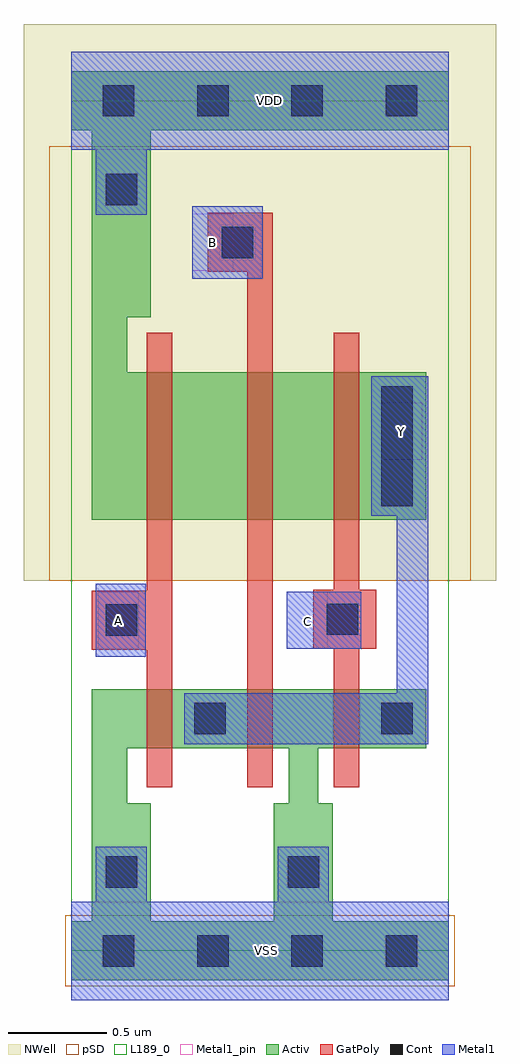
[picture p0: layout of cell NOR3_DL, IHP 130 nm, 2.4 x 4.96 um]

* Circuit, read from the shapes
.subckt NOR3_DL A B C VDD VSS Y
XM1 Y A VSS VSS sg13_lv_nmos w=0.3u l=0.13u
XM2 VSS B Y VSS sg13_lv_nmos w=0.3u l=0.13u
XM3 Y C VSS VSS sg13_lv_nmos w=0.3u l=0.13u
XM4 n1 A VDD VDD sg13_lv_pmos w=0.75u l=0.13u
XM5 n2 B n1 VDD sg13_lv_pmos w=0.75u l=0.13u
XM6 Y C n2 VDD sg13_lv_pmos w=0.75u l=0.13u
.ends

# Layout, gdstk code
import gdstk
lib = gdstk.Library(unit=1e-6, precision=1e-09)
def R(c, l, rs):  # rectangles x0, y0, x1, y1
    for r in rs: c.add(gdstk.rectangle(r[:2], r[2:], *l))
def A(c, l, x, y, w, h, nx, ny, dx, dy):  # array of equal rectangles
    R(c, l, [(x+i*dx, y+j*dy, x+i*dx+w, y+j*dy+h) for i in range(nx) for j in range(ny)])
def P(c, l, *ps):  # polygons
    for p in ps: c.add(gdstk.Polygon(p, *l))
Activ = (1, 0)
GatPoly = (5, 0)
Cont = (6, 0)
Metal1 = (8, 0)
Metal1_pin = (8, 2)
pSD = (14, 0)
NWell = (31, 0)
L189_0 = (189, 0)

nor3_dl = lib.new_cell('NOR3_DL')
P(nor3_dl, Activ, [(0,-0.15),(0,0.15),(0.105,0.15),(0.105,1.03),(0.285,1.03),(0.285,0.75),(0.405,0.75),(0.405,0.15),(1.03,0.15),(1.03,0.75),(1.105,0.75),(1.105,1.03),(0.105,1.03),(0.105,1.33),(1.805,1.33),(1.805,1.03),(1.255,1.03),(1.255,0.75),(1.33,0.75),(1.33,0.15),(1.92,0.15),(1.92,-0.15)],
  [(0.105,2.19),(0.105,4.17),(0,4.17),(0,4.47),(1.92,4.47),(1.92,4.17),(0.405,4.17),(0.405,3.22),(0.285,3.22),(0.285,2.94),(1.805,2.94),(1.805,2.19)])
P(nor3_dl, GatPoly, [(0.385,0.83),(0.385,1.53),(0.105,1.53),(0.105,1.83),(0.385,1.83),(0.385,3.14),(0.515,3.14),(0.515,0.83)],
  [(1.335,0.83),(1.335,1.535),(1.23,1.535),(1.23,1.835),(1.335,1.835),(1.335,3.14),(1.465,3.14),(1.465,1.835),(1.55,1.835),(1.55,1.535),(1.465,1.535),(1.465,0.83)],
  [(0.895,0.83),(0.895,3.45),(0.695,3.45),(0.695,3.75),(1.025,3.75),(1.025,0.83)])
A(nor3_dl, Cont, 0.16, -0.08, 0.16, 0.16, 4, 2, 0.48, 4.32)
R(nor3_dl, Cont, [(0.175,0.32,0.335,0.48), (1.1,0.32,1.26,0.48), (0.625,1.1,0.785,1.26), (1.575,1.1,1.735,1.26), (0.175,1.6,0.335,1.76), (1.3,1.605,1.46,1.765), (1.575,2.26,1.735,2.87), (0.765,3.52,0.925,3.68), (0.175,3.79,0.335,3.95)])
R(nor3_dl, Metal1, [(0.125,1.495,0.38,1.865), (1.095,1.535,1.475,1.825), (0.615,3.415,0.975,3.785)])
P(nor3_dl, Metal1, [(0,-0.25),(0,0.25),(0.125,0.25),(0.125,0.53),(0.385,0.53),(0.385,0.25),(1.05,0.25),(1.05,0.53),(1.31,0.53),(1.31,0.25),(1.92,0.25),(1.92,-0.25)],
  [(0.575,1.05),(0.575,1.31),(1.655,1.31),(1.655,2.21),(1.525,2.21),(1.525,2.92),(1.815,2.92),(1.815,1.05)],
  [(0.125,3.74),(0.125,4.07),(0,4.07),(0,4.57),(1.92,4.57),(1.92,4.07),(0.385,4.07),(0.385,3.74)])
R(nor3_dl, Metal1_pin, [(0,-0.25,1.92,0.25), (0.135,1.535,0.345,1.825), (1.095,1.535,1.305,1.825), (1.575,2.495,1.785,2.785), (0.615,3.455,0.825,3.745), (0,4.07,1.92,4.57)])
R(nor3_dl, pSD, [(-0.03,-0.18,1.95,0.18), (-0.11,1.88,2.03,4.09)])
R(nor3_dl, NWell, [(-0.24,1.88,2.16,4.71)])
R(nor3_dl, L189_0, [(0,0,1.92,4.32)])
nor3_dl.add(gdstk.Label('Y', (1.68,2.64), layer=8, texttype=25))
nor3_dl.add(gdstk.Label('C', (1.2,1.675), layer=8, texttype=25))
nor3_dl.add(gdstk.Label('B', (0.72,3.6), layer=8, texttype=25))
nor3_dl.add(gdstk.Label('A', (0.24,1.68), layer=8, texttype=25))
nor3_dl.add(gdstk.Label('VDD', (1.01,4.32), layer=8, texttype=25))
nor3_dl.add(gdstk.Label('VSS', (0.995,0), layer=8, texttype=25))

lib.write_gds('NOR3_DL.gds')
